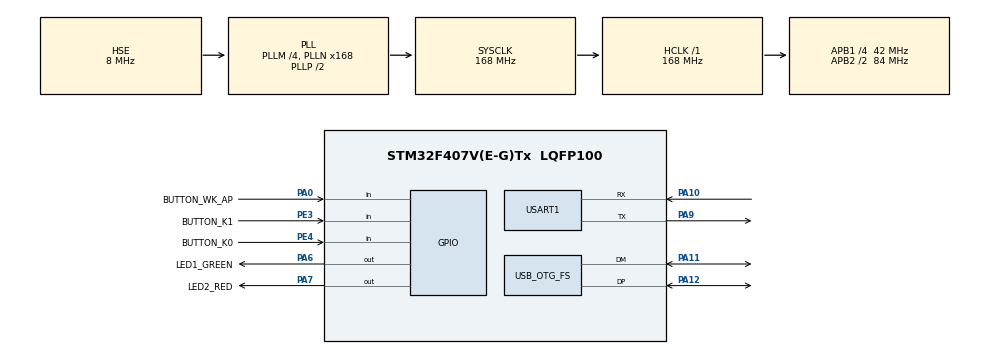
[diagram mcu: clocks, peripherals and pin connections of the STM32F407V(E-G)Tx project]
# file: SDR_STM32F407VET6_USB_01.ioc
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Mcu.Family=STM32F4
Mcu.Name=STM32F407V(E-G)Tx
Mcu.Package=LQFP100
NVIC.OTG_FS_IRQn=true\:0\:0\:false\:false\:true\:false\:true\:true
NVIC.PriorityGroup=NVIC_PRIORITYGROUP_4
PA0-WKUP.GPIO_Label=BUTTON_WK_AP
PA0-WKUP.Signal=GPIO_Input
PA10.Mode=Asynchronous
PA10.Signal=USART1_RX
PA11.Mode=Host_Only
PA11.Signal=USB_OTG_FS_DM
PA12.Mode=Host_Only
PA12.Signal=USB_OTG_FS_DP
PA6.GPIO_Label=LED1_GREEN
PA6.Signal=GPIO_Output
PA7.GPIO_Label=LED2_RED
PA7.Signal=GPIO_Output
PA9.Mode=Asynchronous
PA9.Signal=USART1_TX
PE3.GPIO_Label=BUTTON_K1
PE3.Signal=GPIO_Input
PE4.GPIO_Label=BUTTON_K0
PE4.Signal=GPIO_Input
PH0-OSC_IN.Mode=HSE-External-Oscillator
PH0-OSC_IN.Signal=RCC_OSC_IN
PH1-OSC_OUT.Mode=HSE-External-Oscillator
PH1-OSC_OUT.Signal=RCC_OSC_OUT
ProjectManager.HeapSize=0x400
ProjectManager.StackSize=0x400
ProjectManager.TargetToolchain=MDK-ARM V5.32
RCC.48MHZClocksFreq_Value=48000000
RCC.AHBFreq_Value=168000000
RCC.APB1CLKDivider=RCC_HCLK_DIV4
RCC.APB1Freq_Value=42000000
RCC.APB1TimFreq_Value=84000000
RCC.APB2CLKDivider=RCC_HCLK_DIV2
RCC.APB2Freq_Value=84000000
RCC.APB2TimFreq_Value=168000000
RCC.CortexFreq_Value=168000000
RCC.HCLKFreq_Value=168000000
RCC.HSE_VALUE=8000000
RCC.HSI_VALUE=16000000
RCC.LSE_VALUE=32768
RCC.PLLM=4
RCC.PLLN=168
RCC.PLLQ=7
RCC.SYSCLKFreq_VALUE=168000000
RCC.SYSCLKSource=RCC_SYSCLKSOURCE_PLLCLK
RCC.VCOOutputFreq_Value=336000000
USART1.VirtualMode=VM_ASYNC
USB_HOST.USBH_DEBUG_LEVEL-HID_FS=2
USB_HOST.USBH_HandleTypeDef-HID_FS=hUsbHostFS
USB_HOST.VirtualModeFS=Hid
USB_OTG_FS.VirtualMode=Host_Only
USB_OTG_FS.phy_itface=HCD_PHY_EMBEDDED
VP_USB_HOST_VS_USB_HOST_HID_FS.Mode=HID_FS
board=custom

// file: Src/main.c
/* USER CODE BEGIN Header */
/**
  ******************************************************************************
  * @file           : main.c
  * @brief          : Main program body
  ******************************************************************************
  * @attention
  *
  * Copyright (c) 2023 STMicroelectronics.
  * All rights reserved.
  *
  * This software is licensed under terms that can be found in the LICENSE file
  * in the root directory of this software component.
  * If no LICENSE file comes with this software, it is provided AS-IS.
  *
  ******************************************************************************
  */
/* USER CODE END Header */
#include "main.h"
#include "usb_host.h"

/* USER CODE BEGIN Includes */

#include "stdint.h"
#include "string.h"
#include <stdlib.h>
#include <stdio.h>

#include "usbh_core.h"
#include "usbh_hid.h"

/* USER CODE END Includes */

/* USER CODE BEGIN PTD */

GPIO_TypeDef* GPIO_PORT[LEDn] = {LED1_GREEN_GPIO_Port,
                                 LED2_RED_GPIO_Port};

const uint16_t GPIO_PIN[LEDn] = {LED1_GREEN_Pin,
	                               LED2_RED_Pin};

void BSP_LED_On(Led_TypeDef Led)
{
  HAL_GPIO_WritePin(GPIO_PORT[Led], GPIO_PIN[Led], GPIO_PIN_RESET);
}

void BSP_LED_Off(Led_TypeDef Led)
{
  HAL_GPIO_WritePin(GPIO_PORT[Led], GPIO_PIN[Led], GPIO_PIN_SET);
}

void BSP_LED_Toggle(Led_TypeDef Led)
{
  HAL_GPIO_TogglePin(GPIO_PORT[Led], GPIO_PIN[Led]);
}

GPIO_TypeDef* BUTTON_PORT[BUTTONn] = {BUTTON_WK_AP_GPIO_Port,
                                      BUTTON_K0_GPIO_Port,
                                      BUTTON_K1_GPIO_Port};

const uint16_t BUTTON_PIN[BUTTONn] = {BUTTON_WK_AP_Pin,
                                      BUTTON_K0_Pin,
                                      BUTTON_K1_Pin};

const uint16_t BUTTON_IRQn[BUTTONn] = {BUTTON_WK_AP_EXTI_IRQn,
                                       BUTTON_K0_EXTI_IRQn,
                                       BUTTON_K1_EXTI_IRQn};

uint32_t BSP_PB_GetState(Button_TypeDef Button)
{
  return HAL_GPIO_ReadPin(BUTTON_PORT[Button], BUTTON_PIN[Button]);
}

/* USER CODE END PTD */

/* USER CODE BEGIN PM */
volatile uint8_t raw_bufA[RAW_BUFFER_BYTES];
volatile uint8_t raw_bufB[RAW_BUFFER_BYTES];
volatile uint8_t* raw_buf_filling;

volatile int16_t demod_bufferA[DEMOD_BUFF_BYTES];
volatile int16_t demod_bufferB[DEMOD_BUFF_BYTES];
volatile int16_t* curr_demod_buff;

//USBH_HandleTypeDef hUSBHost;
uint8_t usb_device_ready;
uint8_t OutPipe, InPipe;

//void USBH_UserProcess(USBH_HandleTypeDef* phost, uint8_t id);

/* USER CODE END PM */

UART_HandleTypeDef huart1;

/* USER CODE BEGIN PV */

	USBH_HandleTypeDef hUSBHost;

	#ifdef __GNUC__
  /* With GCC, small printf (option LD Linker->Libraries->Small printf
     set to 'Yes') calls __io_putchar() */
  #define PUTCHAR_PROTOTYPE int __io_putchar(int ch)
#else
  #define PUTCHAR_PROTOTYPE int fputc(int ch, FILE *f)
#endif /* __GNUC__ */

/* USER CODE END PV */

void SystemClock_Config(void);
static void MX_GPIO_Init(void);
static void MX_USART1_UART_Init(void);
void MX_USB_HOST_Process(void);

int main(void)
{

  /* MCU Configuration--------------------------------------------------------*/

  /* Reset of all peripherals, Initializes the Flash interface and the Systick. */
  HAL_Init();

  /* Configure the system clock */
  SystemClock_Config();

  /* Initialize all configured peripherals */
  MX_GPIO_Init();
  MX_USART1_UART_Init();
  MX_USB_HOST_Init();
  /* USER CODE BEGIN 2 */

	BSP_LED_Off(LED1);
	BSP_LED_Off(LED2);
	HAL_Delay(200);
	BSP_LED_On(LED1);
	BSP_LED_On(LED2);
	HAL_Delay(200);
	BSP_LED_Off(LED1);
	BSP_LED_Off(LED2);
	printf("Start system\r\n");

  /* USER CODE END 2 */

  /* Infinite loop */
  while (1)
  {
    MX_USB_HOST_Process();

    /* USER CODE BEGIN 3 */
		        // usb pipe init

		//	HAL_Delay(20);
        if (hUSBHost.gState == HOST_CHECK_CLASS && !usb_device_ready)
				{
            // attempt a connection on the control endpoint
            // note: max packet size 64 bytes for FS and 512 bytes for HS
					  // попытка подключения к конечной точке управления
            // примечание: максимальный размер пакета 64 байта для FS и 512 байт для HS
            InPipe = USBH_AllocPipe(&hUSBHost, USB_PIPE_NUMBER);
						//printf("InPipe = %d",InPipe);
            USBH_StatusTypeDef status = USBH_OpenPipe(&hUSBHost,
                                        InPipe,
                                        USB_PIPE_NUMBER,
                                        hUSBHost.device.address,
                                        hUSBHost.device.speed,
                                        USB_EP_TYPE_BULK,
                                        USBH_MAX_DATA_BUFFER);

            // continue connection attempt until successful
            if (status == USBH_OK)
						{
                usb_device_ready = 1;
            }

        }

        // only execute application after USB control pipe is configured
        if (usb_device_ready)
					{

            // USB device connected, begin application
          //  fmradio_process();

					}
  }
  /* USER CODE END 3 */
}

void SystemClock_Config(void)
{
  RCC_OscInitTypeDef RCC_OscInitStruct = {0};
  RCC_ClkInitTypeDef RCC_ClkInitStruct = {0};

  /** Configure the main internal regulator output voltage
  */
  __HAL_RCC_PWR_CLK_ENABLE();
  __HAL_PWR_VOLTAGESCALING_CONFIG(PWR_REGULATOR_VOLTAGE_SCALE1);

  /** Initializes the RCC Oscillators according to the specified parameters
  * in the RCC_OscInitTypeDef structure.
  */
  RCC_OscInitStruct.OscillatorType = RCC_OSCILLATORTYPE_HSE;
  RCC_OscInitStruct.HSEState = RCC_HSE_ON;
  RCC_OscInitStruct.PLL.PLLState = RCC_PLL_ON;
  RCC_OscInitStruct.PLL.PLLSource = RCC_PLLSOURCE_HSE;
  RCC_OscInitStruct.PLL.PLLM = 4;
  RCC_OscInitStruct.PLL.PLLN = 168;
  RCC_OscInitStruct.PLL.PLLP = RCC_PLLP_DIV2;
  RCC_OscInitStruct.PLL.PLLQ = 7;
  if (HAL_RCC_OscConfig(&RCC_OscInitStruct) != HAL_OK)
  {
    Error_Handler();
  }

  /** Initializes the CPU, AHB and APB buses clocks
  */
  RCC_ClkInitStruct.ClockType = RCC_CLOCKTYPE_HCLK|RCC_CLOCKTYPE_SYSCLK
                              |RCC_CLOCKTYPE_PCLK1|RCC_CLOCKTYPE_PCLK2;
  RCC_ClkInitStruct.SYSCLKSource = RCC_SYSCLKSOURCE_PLLCLK;
  RCC_ClkInitStruct.AHBCLKDivider = RCC_SYSCLK_DIV1;
  RCC_ClkInitStruct.APB1CLKDivider = RCC_HCLK_DIV4;
  RCC_ClkInitStruct.APB2CLKDivider = RCC_HCLK_DIV2;

  if (HAL_RCC_ClockConfig(&RCC_ClkInitStruct, FLASH_LATENCY_5) != HAL_OK)
  {
    Error_Handler();
  }
}

static void MX_USART1_UART_Init(void)
{

  huart1.Instance = USART1;
  huart1.Init.BaudRate = 115200;
  huart1.Init.WordLength = UART_WORDLENGTH_8B;
  huart1.Init.StopBits = UART_STOPBITS_1;
  huart1.Init.Parity = UART_PARITY_NONE;
  huart1.Init.Mode = UART_MODE_TX_RX;
  huart1.Init.HwFlowCtl = UART_HWCONTROL_NONE;
  huart1.Init.OverSampling = UART_OVERSAMPLING_16;
  if (HAL_UART_Init(&huart1) != HAL_OK)
  {
    Error_Handler();
  }

}

static void MX_GPIO_Init(void)
{
  GPIO_InitTypeDef GPIO_InitStruct = {0};

  /* GPIO Ports Clock Enable */
  __HAL_RCC_GPIOE_CLK_ENABLE();
  __HAL_RCC_GPIOH_CLK_ENABLE();
  __HAL_RCC_GPIOA_CLK_ENABLE();

  /*Configure GPIO pin Output Level */
  HAL_GPIO_WritePin(GPIOA, LED1_GREEN_Pin|LED2_RED_Pin, GPIO_PIN_RESET);

  /*Configure GPIO pins : BUTTON_K1_Pin BUTTON_K0_Pin */
  GPIO_InitStruct.Pin = BUTTON_K1_Pin|BUTTON_K0_Pin;
  GPIO_InitStruct.Mode = GPIO_MODE_INPUT;
  GPIO_InitStruct.Pull = GPIO_NOPULL;
  HAL_GPIO_Init(GPIOE, &GPIO_InitStruct);

  /*Configure GPIO pin : BUTTON_WK_AP_Pin */
  GPIO_InitStruct.Pin = BUTTON_WK_AP_Pin;
  GPIO_InitStruct.Mode = GPIO_MODE_INPUT;
  GPIO_InitStruct.Pull = GPIO_NOPULL;
  HAL_GPIO_Init(BUTTON_WK_AP_GPIO_Port, &GPIO_InitStruct);

  /*Configure GPIO pins : LED1_GREEN_Pin LED2_RED_Pin */
  GPIO_InitStruct.Pin = LED1_GREEN_Pin|LED2_RED_Pin;
  GPIO_InitStruct.Mode = GPIO_MODE_OUTPUT_PP;
  GPIO_InitStruct.Pull = GPIO_NOPULL;
  GPIO_InitStruct.Speed = GPIO_SPEED_FREQ_LOW;
  HAL_GPIO_Init(GPIOA, &GPIO_InitStruct);

}

/* USER CODE BEGIN 4 */

PUTCHAR_PROTOTYPE
{
  /* Place your implementation of fputc here */
  /* e.g. write a character to the EVAL_COM1 and Loop until the end of transmission */
  HAL_UART_Transmit(&huart1, (uint8_t *)&ch, 1, 0xFFFF);

  return ch;
}

/* USER CODE END 4 */

void Error_Handler(void)
{
  /* USER CODE BEGIN Error_Handler_Debug */
  /* User can add his own implementation to report the HAL error return state */

	BSP_LED_Toggle(LED2);
	HAL_Delay(100);
	BSP_LED_Toggle(LED2);
	HAL_Delay(100);
	BSP_LED_Toggle(LED2);
	HAL_Delay(100);
	BSP_LED_Toggle(LED2);

  __disable_irq();
  while (1)
  {
  }
  /* USER CODE END Error_Handler_Debug */
}
